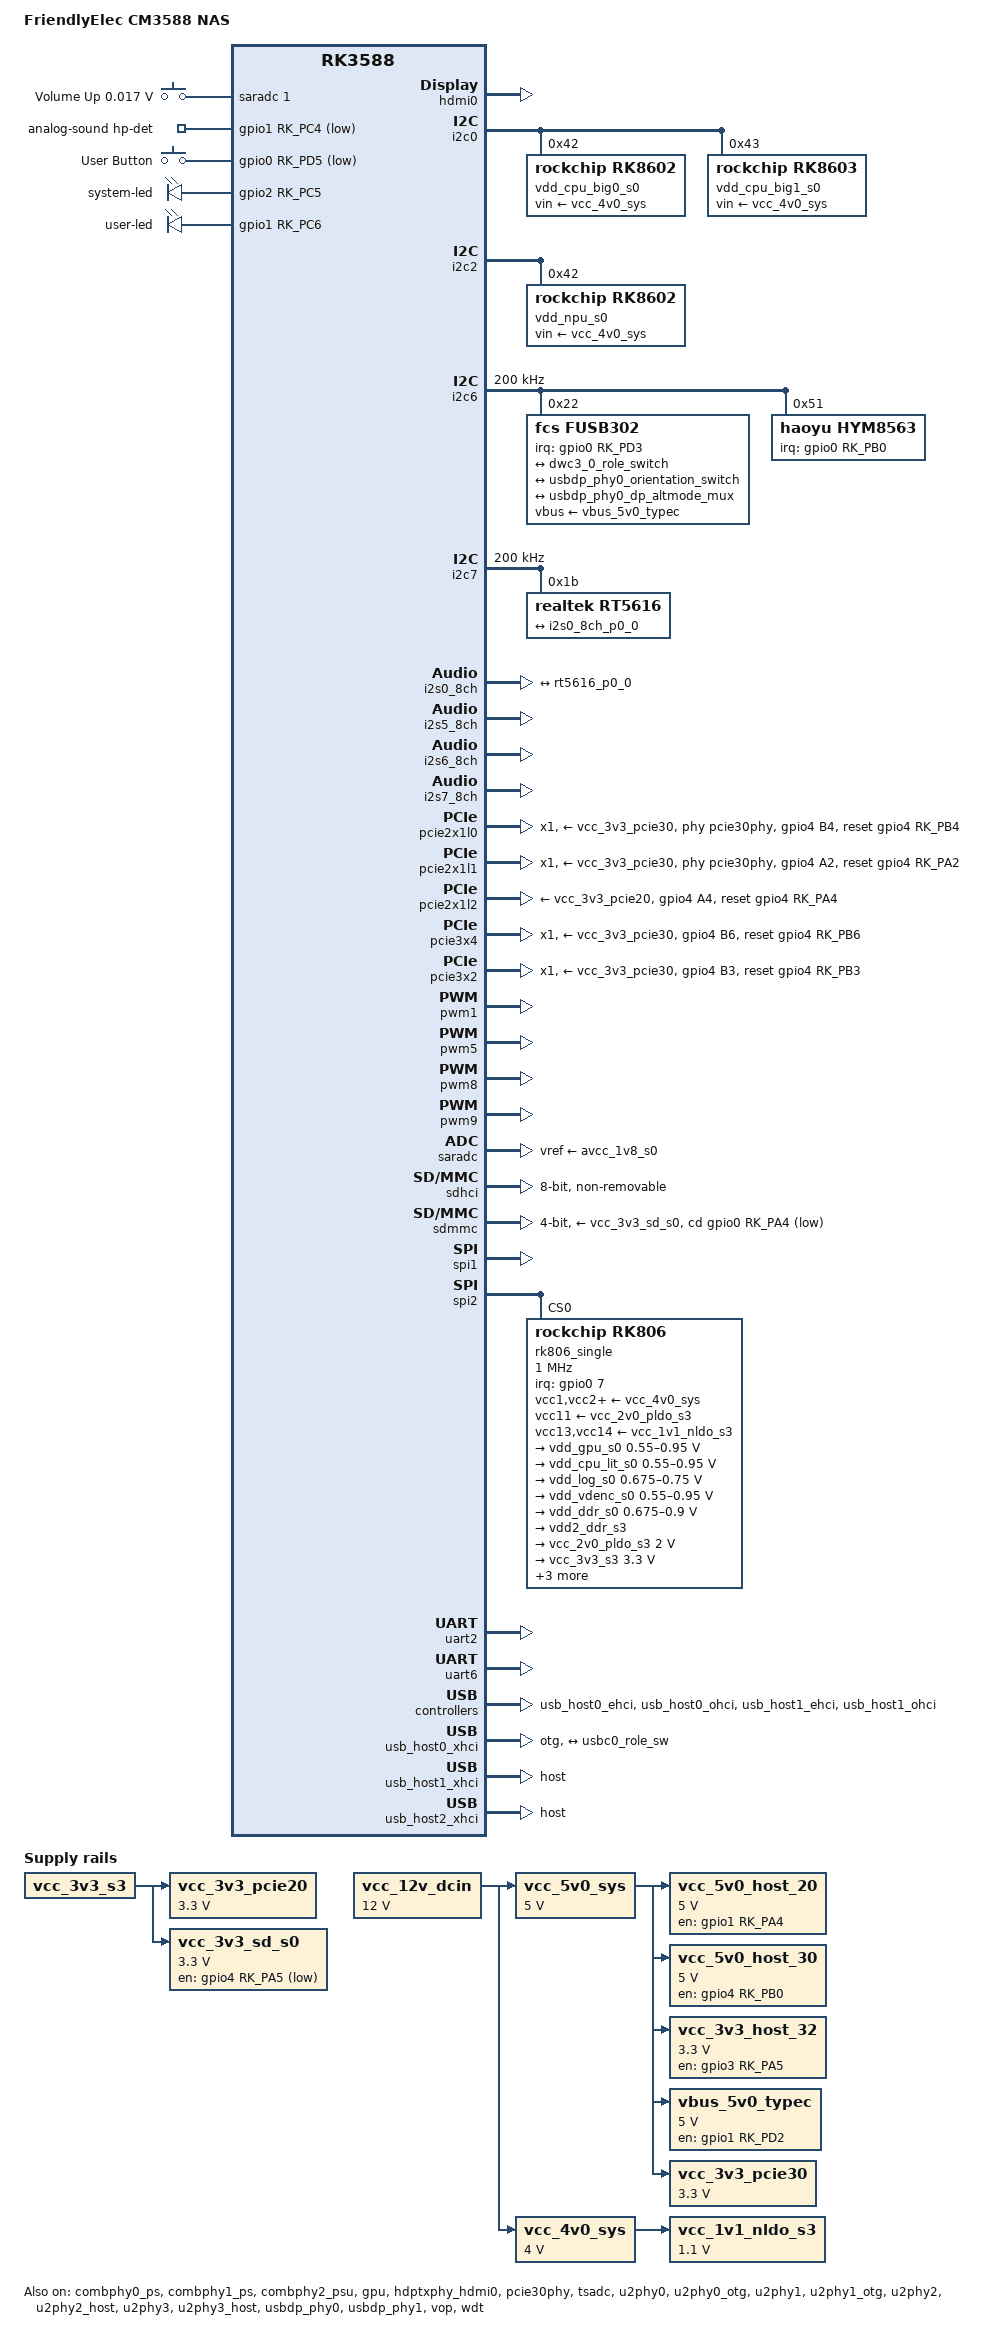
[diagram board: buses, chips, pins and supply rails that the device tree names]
// SPDX-License-Identifier: (GPL-2.0+ OR MIT)
/*
 * Copyright (c) 2021 Rockchip Electronics Co., Ltd.
 * Copyright (c) 2023 FriendlyElec Computer Tech. Co., Ltd.
 * Copyright (c) 2023 Thomas McKahan
 * Author: ColorfulRhino
 *
 */

/dts-v1/;

#include <dt-bindings/gpio/gpio.h>
#include <dt-bindings/input/input.h>
#include <dt-bindings/pinctrl/rockchip.h>
#include <dt-bindings/soc/rockchip,vop2.h>
#include <dt-bindings/usb/pd.h>
#include "rk3588.dtsi"

/ {
	model = "FriendlyElec CM3588 NAS";
	compatible = "friendlyarm,cm3588", "rockchip,rk3588";

	aliases {
		mmc0 = &sdhci;
		mmc1 = &sdmmc;
		// nvme0 = &nvme0;
		// nvme1 = &nvme1;
		// nvme2 = &nvme2;
		// nvme3 = &nvme3;
		// ethernet0 = &r8125_u10;
	};

	chosen {
		stdout-path = "serial2:1500000n8";
	};

	adc_keys: adc-keys {
		compatible = "adc-keys";
		io-channels = <&saradc 1>;
		io-channel-names = "buttons";
		keyup-threshold-microvolt = <1800000>;
		poll-interval = <100>;

		button-vol-up {
			label = "Volume Up";
			linux,code = <KEY_VOLUMEUP>;
			press-threshold-microvolt = <17000>;
		};
	};

	analog-sound {
		compatible = "simple-audio-card";
		pinctrl-names = "default";
		pinctrl-0 = <&headphone_detect>;

		simple-audio-card,name = "realtek,rt5616-codec";
		simple-audio-card,format = "i2s";
		simple-audio-card,mclk-fs = <256>;

		simple-audio-card,hp-det-gpio = <&gpio1 RK_PC4 GPIO_ACTIVE_LOW>;
		simple-audio-card,hp-pin-name = "Headphones";

		simple-audio-card,routing =
			"Headphones", "HPOL",
			"Headphones", "HPOR",
			"MIC1", "Microphone Jack",
			"Microphone Jack", "micbias1";
		simple-audio-card,widgets =
			"Headphone", "Headphones",
			"Microphone", "Microphone Jack";
		

		simple-audio-card,cpu {
			sound-dai = <&i2s0_8ch>;
		};
		
		simple-audio-card,codec {
			sound-dai = <&rt5616>;
		};
	};

	fan: pwm-fan {
		status = "disabled";
		compatible = "pwm-fan";
		#cooling-cells = <2>;
		cooling-levels = <0 50 100 150 200 255>;
		pwms = <&pwm1 0 50000 0>;
	};

	gpio_keys: gpio-keys {
		compatible = "gpio-keys";
		pinctrl-names = "default";
		pinctrl-0 = <&key1_pin>;

		button@1 {
			debounce-interval = <50>;
			gpios = <&gpio0 RK_PD5 GPIO_ACTIVE_LOW>;
			label = "User Button";
			linux,code = <BTN_1>;
			wakeup-source;
		};
	};

	leds {
		compatible = "gpio-leds";

		led_sys: led-0 {
			gpios = <&gpio2 RK_PC5 GPIO_ACTIVE_HIGH>;
			label = "system-led";
			linux,default-trigger = "heartbeat";
			pinctrl-names = "default";
			pinctrl-0 = <&led_sys_pin>;
		};

		led_usr: led-1 {
			gpios = <&gpio1 RK_PC6 GPIO_ACTIVE_HIGH>;
			label = "user-led";
			pinctrl-names = "default";
			pinctrl-0 = <&led_usr_pin>;
		};
	};

	vcc_12v_dcin: vcc-12v-dcin-regulator {
		compatible = "regulator-fixed";
		regulator-name = "vcc_12v_dcin";
		regulator-always-on;
		regulator-boot-on;
		regulator-min-microvolt = <12000000>;
		regulator-max-microvolt = <12000000>;
	};

	/* vcc_5v0_sys powers peripherals */
	vcc_5v0_sys: vcc-5v0-sys-regulator {
		compatible = "regulator-fixed";
		regulator-name = "vcc_5v0_sys";
		regulator-always-on;
		regulator-boot-on;
		regulator-min-microvolt = <5000000>;
		regulator-max-microvolt = <5000000>;
		vin-supply = <&vcc_12v_dcin>;
	};

	vcc_5v0_host_20: vcc-5v0-host-20 {
		compatible = "regulator-fixed";
		enable-active-high;
		gpio = <&gpio1 RK_PA4 GPIO_ACTIVE_HIGH>;
		pinctrl-names = "default";
		pinctrl-0 = <&vcc_5v0_host20_en>;
		regulator-name = "vcc_5v0_host_20";
		regulator-min-microvolt = <5000000>;
		regulator-max-microvolt = <5000000>;
		vin-supply = <&vcc_5v0_sys>;
	};

	vcc_5v0_host_30: vcc-5v0-host-30 {
		compatible = "regulator-fixed";
		enable-active-high;
		gpio = <&gpio4 RK_PB0 GPIO_ACTIVE_HIGH>;
		pinctrl-names = "default";
		pinctrl-0 = <&vcc_5v0_host30_en>;
		regulator-name = "vcc_5v0_host_30";
		regulator-min-microvolt = <5000000>;
		regulator-max-microvolt = <5000000>;
		vin-supply = <&vcc_5v0_sys>;
	};

	vcc_3v3_host_32: vcc-3v3-host-32-regulator {
		compatible = "regulator-fixed";
		enable-active-high;
		gpios = <&gpio3 RK_PA5 GPIO_ACTIVE_HIGH>;
		pinctrl-names = "default";
		pinctrl-0 = <&vcc_3v3_host32_en>;
		regulator-name = "vcc_3v3_host_32";
		regulator-min-microvolt = <3300000>;
		regulator-max-microvolt = <3300000>;
		vin-supply = <&vcc_5v0_sys>;
	};

	vbus_5v0_typec: vbus-5v0-typec-regulator {
		compatible = "regulator-fixed";
		enable-active-high;
		gpio = <&gpio1 RK_PD2 GPIO_ACTIVE_HIGH>;
		pinctrl-names = "default";
		pinctrl-0 = <&typec_5v_pwr_en>;
		regulator-name = "vbus_5v0_typec";
		regulator-min-microvolt = <5000000>;
		regulator-max-microvolt = <5000000>;
		vin-supply = <&vcc_5v0_sys>;
	};

	/* vcc_4v0_sys powers the RK806, RK860's */
	vcc_4v0_sys: vcc-4v0-sys-regulator {
		compatible = "regulator-fixed";
		regulator-name = "vcc_4v0_sys";
		regulator-always-on;
		regulator-boot-on;
		regulator-min-microvolt = <4000000>;
		regulator-max-microvolt = <4000000>;
		vin-supply = <&vcc_12v_dcin>;
	};

	vcc_3v3_pcie20: vcc-3v3-pcie20-regulator {
		compatible = "regulator-fixed";
		regulator-name = "vcc_3v3_pcie20";
		regulator-always-on;
		regulator-boot-on;
		regulator-min-microvolt = <3300000>;
		regulator-max-microvolt = <3300000>;
		vin-supply = <&vcc_3v3_s3>;
	};

	vcc_3v3_pcie30: vcc-3v3-pcie30-regulator {
		compatible = "regulator-fixed";
		regulator-name = "vcc_3v3_pcie30";
		regulator-always-on;
		regulator-boot-on;
		regulator-min-microvolt = <3300000>;
		regulator-max-microvolt = <3300000>;
		vin-supply = <&vcc_5v0_sys>;
	};

	vcc_3v3_sd_s0: vcc-3v3-sd-s0-regulator {
		compatible = "regulator-fixed";
		enable-active-low;
		gpio = <&gpio4 RK_PA5 GPIO_ACTIVE_HIGH>;
		pinctrl-names = "default";
		pinctrl-0 = <&sd_s0_pwr>;
		regulator-boot-on;
		regulator-max-microvolt = <3300000>;
		regulator-min-microvolt = <3300000>;
		regulator-name = "vcc_3v3_sd_s0";
		vin-supply = <&vcc_3v3_s3>;
	};

	vcc_1v1_nldo_s3: vcc-1v1-nldo-s3-regulator {
		compatible = "regulator-fixed";
		regulator-name = "vcc-1v1-nldo-s3";
		regulator-always-on;
		regulator-boot-on;
		regulator-min-microvolt = <1100000>;
		regulator-max-microvolt = <1100000>;
		vin-supply = <&vcc_4v0_sys>;
	};
};

&combphy0_ps {
	status = "okay";
};

&combphy1_ps {
	status = "okay";
};

&combphy2_psu {
	status = "okay";
};

&cpu_l0 {
	cpu-supply = <&vdd_cpu_lit_s0>;
};

&cpu_l1 {
	cpu-supply = <&vdd_cpu_lit_s0>;
};

&cpu_l2 {
	cpu-supply = <&vdd_cpu_lit_s0>;
};

&cpu_l3 {
	cpu-supply = <&vdd_cpu_lit_s0>;
};

&cpu_b0 {
	cpu-supply = <&vdd_cpu_big0_s0>;
};

&cpu_b1 {
	cpu-supply = <&vdd_cpu_big0_s0>;
};

&cpu_b2 {
	cpu-supply = <&vdd_cpu_big1_s0>;
};

&cpu_b3 {
	cpu-supply = <&vdd_cpu_big1_s0>;
};

/* @TODO: gpio0 to gpio4 is from rk3588-nanopc-t6.dts and is not yet adapted to CM3588 NAS */
// &gpio0 {
// 	gpio-line-names = /* GPIO0 A0-A7 */
// 			  "", "", "", "",
// 			  "", "", "", "",
// 			  /* GPIO0 B0-B7 */
// 			  "", "", "", "",
// 			  "", "", "", "",
// 			  /* GPIO0 C0-C7 */
// 			  "", "", "", "",
// 			  "HEADER_10", "HEADER_08", "HEADER_32", "",
// 			  /* GPIO0 D0-D7 */
// 			  "", "", "", "",
// 			  "", "", "", "";
// };

// &gpio1 {
// 	gpio-line-names = /* GPIO1 A0-A7 */
// 			  "HEADER_27", "HEADER_28", "", "",
// 			  "", "", "", "HEADER_15",
// 			  /* GPIO1 B0-B7 */
// 			  "HEADER_26", "HEADER_21", "HEADER_19", "HEADER_23",
// 			  "HEADER_24", "HEADER_22", "", "",
// 			  /* GPIO1 C0-C7 */
// 			  "", "", "", "",
// 			  "", "", "", "",
// 			  /* GPIO1 D0-D7 */
// 			  "", "", "", "",
// 			  "", "", "HEADER_05", "HEADER_03";
// };

// &gpio2 {
// 	gpio-line-names = /* GPIO2 A0-A7 */
// 			  "", "", "", "",
// 			  "", "", "", "",
// 			  /* GPIO2 B0-B7 */
// 			  "", "", "", "",
// 			  "", "", "", "",
// 			  /* GPIO2 C0-C7 */
// 			  "", "CSI1_11", "CSI1_12", "",
// 			  "", "", "", "",
// 			  /* GPIO2 D0-D7 */
// 			  "", "", "", "",
// 			  "", "", "", "";
// };

// &gpio3 {
// 	gpio-line-names = /* GPIO3 A0-A7 */
// 			  "HEADER_35", "HEADER_38", "HEADER_40", "HEADER_36",
// 			  "HEADER_37", "", "DSI0_12", "",
// 			  /* GPIO3 B0-B7 */
// 			  "HEADER_33", "DSI0_10", "HEADER_07", "HEADER_16",
// 			  "HEADER_18", "HEADER_29", "HEADER_31", "HEADER_12",
// 			  /* GPIO3 C0-C7 */
// 			  "DSI0_08", "DSI0_14", "HEADER_11", "HEADER_13",
// 			  "", "", "", "",
// 			  /* GPIO3 D0-D7 */
// 			  "", "", "", "",
// 			  "", "DSI1_10", "", "";
// };

// &gpio4 {
// 	gpio-line-names = /* GPIO4 A0-A7 */
// 			  "DSI1_08", "DSI1_14", "", "DSI1_12",
// 			  "", "", "", "",
// 			  /* GPIO4 B0-B7 */
// 			  "", "", "", "",
// 			  "", "", "", "",
// 			  /* GPIO4 C0-C7 */
// 			  "", "", "", "",
// 			  "CSI0_11", "CSI0_12", "", "",
// 			  /* GPIO4 D0-D7 */
// 			  "", "", "", "",
// 			  "", "", "", "";
// };

&gpu {
	mali-supply = <&vdd_gpu_s0>;
	sram-supply = <&vdd_gpu_mem_s0>;
	status = "okay";
};

&display_subsystem {
	clocks = <&hdptxphy_hdmi0>;
	clock-names = "hdmi0_phy_pll";
};

&hdmi0 {
	// avdd-0v9-supply = 
	// avdd-1v8-supply =
	/* Dmesg error/warning:
	* [  +0.000055] dwhdmi-rockchip fde80000.hdmi: Looking up avdd-0v9-supply from device tree
	* [  +0.000011] dwhdmi-rockchip fde80000.hdmi: Looking up avdd-0v9-supply property in node /hdmi@fde80000 failed
	* [  +0.000014] dwhdmi-rockchip fde80000.hdmi: supply avdd-0v9 not found, using dummy regulator
	* [  +0.000080] dwhdmi-rockchip fde80000.hdmi: Looking up avdd-1v8-supply from device tree
	* [  +0.000010] dwhdmi-rockchip fde80000.hdmi: Looking up avdd-1v8-supply property in node /hdmi@fde80000 failed
	* [  +0.000010] dwhdmi-rockchip fde80000.hdmi: supply avdd-1v8 not found, using dummy regulator
	* [  +0.001009] dwhdmi-rockchip fde80000.hdmi: registered ddc I2C bus driver
	*/
	status = "okay";
};

&hdmi0_in {
	hdmi0_in_vp0: endpoint {
		remote-endpoint = <&vp0_out_hdmi0>;
	};
};

&hdptxphy_hdmi0 {
	status = "okay";
};

// /* 4k HDMI capture controller (see rk3588.dtsi) */
// &hdmirx_cma {
// 	status = "okay";
// };

// &hdmirx_ctrler {
// 	status = "okay";
// 	hdmirx-5v-detection-gpios = <&gpio1 RK_PC6 GPIO_ACTIVE_LOW>;
// 	pinctrl-0 = <&hdmim1_rx_cec &hdmim1_rx_hpdin &hdmim1_rx_scl &hdmim1_rx_sda &hdmirx_5v_detection>;
// 	pinctrl-names = "default";
// 	memory-region = <&hdmirx_cma>;
// };

&i2c0 {
	pinctrl-names = "default";
	pinctrl-0 = <&i2c0m2_xfer>;
	status = "okay";

	vdd_cpu_big0_s0: regulator@42 {
		compatible = "rockchip,rk8602";
		reg = <0x42>;
		fcs,suspend-voltage-selector = <1>;
		regulator-name = "vdd_cpu_big0_s0";
		regulator-always-on;
		regulator-boot-on;
		regulator-min-microvolt = <550000>;
		regulator-max-microvolt = <1050000>;
		regulator-ramp-delay = <2300>;
		vin-supply = <&vcc_4v0_sys>;

		regulator-state-mem {
			regulator-off-in-suspend;
		};
	};

	vdd_cpu_big1_s0: regulator@43 {
		compatible = "rockchip,rk8603", "rockchip,rk8602";
		reg = <0x43>;
		fcs,suspend-voltage-selector = <1>;
		regulator-name = "vdd_cpu_big1_s0";
		regulator-always-on;
		regulator-boot-on;
		regulator-min-microvolt = <550000>;
		regulator-max-microvolt = <1050000>;
		regulator-ramp-delay = <2300>;
		vin-supply = <&vcc_4v0_sys>;

		regulator-state-mem {
			regulator-off-in-suspend;
		};
	};
};

&i2c2 {
	status = "okay";

	vdd_npu_s0: regulator@42 {
		compatible = "rockchip,rk8602";
		reg = <0x42>;
		fcs,suspend-voltage-selector = <1>;
		regulator-name = "vdd_npu_s0";
		regulator-always-on;
		regulator-boot-on;
		regulator-min-microvolt = <550000>;
		regulator-max-microvolt = <950000>;
		regulator-ramp-delay = <2300>;
		vin-supply = <&vcc_4v0_sys>;

		regulator-state-mem {
			regulator-off-in-suspend;
		};
	};
};

&i2c6 {
	clock-frequency = <200000>;
	pinctrl-names = "default";
	pinctrl-0 = <&i2c6m0_xfer>;
	status = "okay";

	fusb302: typec-portc@22 {
		compatible = "fcs,fusb302";
		reg = <0x22>;
		interrupt-parent = <&gpio0>;
		interrupts = <RK_PD3 IRQ_TYPE_LEVEL_LOW>;
		pinctrl-0 = <&usbc0_int>;
		pinctrl-names = "default";
		vbus-supply = <&vbus_5v0_typec>;

		ports {
			#address-cells = <1>;
			#size-cells = <0>;

				port@0 {
				reg = <0>;
				usbc0_role_sw: endpoint@0 {
					remote-endpoint = <&dwc3_0_role_switch>;
				};
			};
		};

		usb_con: connector {
			compatible = "usb-c-connector";
			data-role = "dual";
			label = "USB-C";
			op-sink-microwatt = <1000000>;
			power-role = "dual";
			source-pdos = <PDO_FIXED(5000, 2000, PDO_FIXED_USB_COMM)>;
			sink-pdos = <PDO_FIXED(5000, 3000, PDO_FIXED_USB_COMM)>;
			try-power-role = "sink";

			altmodes {
				#address-cells = <1>;
				#size-cells = <0>;

				altmode@0 {
					reg = <0>;
					svid = <0xff01>;
					vdo = <0xffffffff>;
				};
			};

			ports {
				#address-cells = <1>;
				#size-cells = <0>;

				port@0 {
					reg = <0>;
					usbc0_orien_sw: endpoint {
						remote-endpoint = <&usbdp_phy0_orientation_switch>;
					};
				};

				port@1 {
					reg = <1>;
					dp_altmode_mux: endpoint {
						remote-endpoint = <&usbdp_phy0_dp_altmode_mux>;
					};
				};
			};
		};
	};

	hym8563: rtc@51 {
		compatible = "haoyu,hym8563";
		reg = <0x51>;
		#clock-cells = <0>;
		clock-output-names = "hym8563";
		interrupt-parent = <&gpio0>;
		interrupts = <RK_PB0 IRQ_TYPE_LEVEL_LOW>;
		pinctrl-names = "default";
		pinctrl-0 = <&hym8563_int>;
		wakeup-source;
	};
};

/* Connected with MIPI-CSI1 */
&i2c7 {
	clock-frequency = <200000>;
	status = "okay";

	rt5616: audio-codec@1b {
		compatible = "realtek,rt5616";
		reg = <0x1b>;
		assigned-clocks = <&cru I2S0_8CH_MCLKOUT>;
		assigned-clock-rates = <12288000>;
		clocks = <&cru I2S0_8CH_MCLKOUT>;
		clock-names = "mclk";
		#sound-dai-cells = <0>;

		port {
			rt5616_p0_0: endpoint {
				remote-endpoint = <&i2s0_8ch_p0_0>;
			};
		};
	};
};

/* Connected with Header_2.54MM */
&i2c8 {
	pinctrl-0 = <&i2c8m2_xfer>;
};

&i2s0_8ch {
	pinctrl-names = "default";
	pinctrl-0 = <&i2s0_lrck
				&i2s0_mclk
				&i2s0_sclk
				&i2s0_sdi0
				&i2s0_sdo0>;
	status = "okay";

	i2s0_8ch_p0: port {
		i2s0_8ch_p0_0: endpoint {
			dai-format = "i2s";
			mclk-fs = <256>;
			remote-endpoint = <&rt5616_p0_0>;
		};
	};
};

&i2s5_8ch {
	status = "okay";
};

&i2s6_8ch {
	status = "okay";
};

&i2s7_8ch {
	status = "okay";
};

/* Temperature sensor near the center of the SoC */
&package_thermal {
	polling-delay = <1000>;

	trips {
		package_hot: package_hot {
			hysteresis = <2000>;
			temperature = <65000>;
			type = "active";
		};
	};

	cooling-maps {
		map0 {
			cooling-device = <&fan THERMAL_NO_LIMIT THERMAL_NO_LIMIT>;
			trip = <&package_hot>;
		};
	};
};

&pcie2x1l0 { // @fe170000
	/* 2. M.2 slot, CON14: pcie30phy port0 lane1 */
	max-link-speed = <3>;
	num-lanes = <1>;
	phys = <&pcie30phy>;
	pinctrl-names = "default";
	pinctrl-0 = <&pcie2_0_rst>;
	reset-gpios = <&gpio4 RK_PB4 GPIO_ACTIVE_HIGH>;
	vpcie3v3-supply = <&vcc_3v3_pcie30>;
	status = "okay";

	// pcie@0,0 {
	// 	reg = <0x00200000 0 0 0 0>;
	// 	#address-cells = <3>;
	// 	#size-cells = <2>;

	// 	nvme1: pcie@20,0 {
	// 		reg = <0x000000 0 0 0 0>;
	// 	};
	// };
};

&pcie2x1l1 { // @fe180000
	/* 4. M.2 slot, CON16: pcie30phy port1 lane1 */
	max-link-speed = <3>;
	num-lanes = <1>;
	phys = <&pcie30phy>;
	pinctrl-names = "default";
	pinctrl-0 = <&pcie2_1_rst>;
	reset-gpios = <&gpio4 RK_PA2 GPIO_ACTIVE_HIGH>;
	vpcie3v3-supply = <&vcc_3v3_pcie30>;
	status = "okay";

	// pcie@0,0 {
	// 	reg = <0x00300000 0 0 0 0>;
	// 	#address-cells = <3>;
	// 	#size-cells = <2>;

	// 	nvme3: pcie@30,0 {
	// 		reg = <0x000000 0 0 0 0>;
	// 	};
	// };
};

&pcie2x1l2 { // @fe190000
	/* r8125 ethernet */
	pinctrl-names = "default";
	pinctrl-0 = <&pcie2_2_rst>;
	reset-gpios = <&gpio4 RK_PA4 GPIO_ACTIVE_HIGH>;
	vpcie3v3-supply = <&vcc_3v3_pcie20>;
	status = "okay";

	// pcie@0,0 {
	// 	reg = <0x00400000 0 0 0 0>;
	// 	#address-cells = <3>;
	// 	#size-cells = <2>;

	// 	r8125_u10: pcie@40,0 {
	// 		reg = <0x000000 0 0 0 0>;
	// 		local-mac-address = [ 00 00 00 00 00 00 ];
	// 	};
	// };
};

&pcie30phy {
	/*
	* Michal Tomek describes:
	* The PHY offers the following mapping options:
	* 
	* port 0 lane 0 - always mapped to controller 0 (4L)
 	* port 0 lane 1 - to controller 0 or 2 (1L0)
	* port 1 lane 0 - to controller 0 or 1 (2L)
	* port 1 lane 1 - to controller 0, 1 or 3 (1L1)
	* 
	* The data-lanes DT property maps these as follows:
	* 
	* 0 = no controller (unsupported by the HW)
 	* 1 = 4L
	* 2 = 2L
	* 3 = 1L0
 	* 4 = 1L1
	*
	* <1 3 2 4> = NABIBI = [3 3] = x1x1 x1x1 (bif. of both ports;
	*/
	data-lanes = <1 3 2 4>;
	status = "okay";
};

&pcie3x4 { // @fe150000
	/* 1. M.2 slot, CON13: pcie30phy port0 lane0 */
	max-link-speed = <3>;
	num-lanes = <1>;
	pinctrl-names = "default";
	pinctrl-0 = <&pcie3x4_rst>;
	reset-gpios = <&gpio4 RK_PB6 GPIO_ACTIVE_HIGH>;
	vpcie3v3-supply = <&vcc_3v3_pcie30>;
	status = "okay";

	// pcie@0,0 {
	// 	reg = <0x00000000 0 0 0 0>;
	// 	#address-cells = <3>;
	// 	#size-cells = <2>;

	// 	nvme0: pcie@0,0 {
	// 		reg = <0x000000 0 0 0 0>;
	// 	};
	// };
};

&pcie3x2 { // @fe160000
	/* 3. M.2 slot, CON15: pcie30phy port1 lane0 */
	max-link-speed = <3>;
	num-lanes = <1>;
	pinctrl-names = "default";
	pinctrl-0 = <&pcie3x2_rst>;
	reset-gpios = <&gpio4 RK_PB3 GPIO_ACTIVE_HIGH>;
	vpcie3v3-supply = <&vcc_3v3_pcie30>;
	status = "okay";

	// pcie@0,0 {
	// 	reg = <0x00100000 0 0 0 0>;
	// 	#address-cells = <3>;
	// 	#size-cells = <2>;

	// 	nvme2: pcie@10,0 {
	// 		reg = <0x000000 0 0 0 0>;
	// 	};
	// };
};

&pinctrl {
	audio {
		headphone_detect: headphone-detect {
			rockchip,pins = <1 RK_PC4 RK_FUNC_GPIO &pcfg_pull_none>;
		};
	};

	gpio-key {
		key1_pin: key1-pin {
			rockchip,pins = <0 RK_PD5 RK_FUNC_GPIO &pcfg_pull_up>;
		};
	};

	gpio-leds {
		led_sys_pin: led-sys-pin {
			rockchip,pins = <2 RK_PC5 RK_FUNC_GPIO &pcfg_pull_none>;
		};

		led_usr_pin: led-usr-pin {
			rockchip,pins = <1 RK_PC6 RK_FUNC_GPIO &pcfg_pull_none>;
		};
	};

	hym8563 {
		hym8563_int: hym8563-int {
			rockchip,pins = <0 RK_PB0 RK_FUNC_GPIO &pcfg_pull_up>;
		};
	};

	pcie {
		pcie2_0_rst: pcie2-0-rst {
			rockchip,pins = <4 RK_PB4 RK_FUNC_GPIO &pcfg_pull_none>;
		};

		pcie2_1_rst: pcie2-1-rst {
			rockchip,pins = <4 RK_PA2 RK_FUNC_GPIO &pcfg_pull_none>;
		};

		pcie2_2_rst: pcie2-2-rst {
			rockchip,pins = <4 RK_PA4 RK_FUNC_GPIO &pcfg_pull_none>;
		};

		pcie3x2_rst: pcie3x2-rst {
			rockchip,pins = <4 RK_PB3 RK_FUNC_GPIO &pcfg_pull_none>;
		};

		pcie3x4_rst: pcie3x4-rst {
			rockchip,pins = <4 RK_PB6 RK_FUNC_GPIO &pcfg_pull_none>;
		};
	};

	sdmmc {
		sd_s0_pwr: sd-s0-pwr {
			rockchip,pins = <4 RK_PA5 RK_FUNC_GPIO &pcfg_pull_up>;
		};
	};

	usb {
		vcc_5v0_host20_en: vcc-5v0-host20-en {
			rockchip,pins = <1 RK_PA4 RK_FUNC_GPIO &pcfg_pull_none>;
		};

		vcc_5v0_host30_en: vcc-5v0-host30-en {
			rockchip,pins = <4 RK_PB0 RK_FUNC_GPIO &pcfg_pull_none>;
		};
		
		vcc_3v3_host32_en: vcc-3v3-host32-en {
			rockchip,pins = <3 RK_PA5 RK_FUNC_GPIO &pcfg_pull_none>;
		};
	};

	usb-typec {
		usbc0_int: usbc0-int {
			rockchip,pins = <0 RK_PD3 RK_FUNC_GPIO &pcfg_pull_up>;
		};

		typec_5v_pwr_en: typec-5v-pwr-en {
			rockchip,pins = <1 RK_PD2 RK_FUNC_GPIO &pcfg_pull_none>;
		};
	};
};

&pwm1 {
	pinctrl-0 = <&pwm1m1_pins>;
	status = "okay";
};

/* Connected with MIPI-DSI0 */
&pwm2 {
	pinctrl-0 = <&pwm2m1_pins>;
};

/* GPIO Connector */
&pwm5 {
	pinctrl-0 = <&pwm5m1_pins>;
	status = "okay";
};

&pwm8 {
	pinctrl-0 = <&pwm8m0_pins>;
	status = "okay";
};

/* GPIO Connector */
&pwm9 {
	pinctrl-0 = <&pwm9m0_pins>;
	status = "okay";
};

&saradc {
	vref-supply = <&avcc_1v8_s0>;
	status = "okay";
};

/* eMMC */
&sdhci {
	bus-width = <8>;
	full-pwr-cycle-in-suspend;
	max-frequency = <200000000>;
	mmc-hs400-1_8v;
	mmc-hs400-enhanced-strobe;
	no-sd;
	no-sdio;
	non-removable;
	status = "okay";
};

/* microSD card */
&sdmmc {
	bus-width = <4>;
	cap-mmc-highspeed;
	cap-sd-highspeed;
	cd-gpios = <&gpio0 RK_PA4 GPIO_ACTIVE_LOW>;
	disable-wp;
	max-frequency = <150000000>;
	no-mmc;
	no-sdio;
	sd-uhs-sdr104;
	vmmc-supply = <&vcc_3v3_sd_s0>;
	vqmmc-supply = <&vccio_sd_s0>;
	status = "okay";
};

/* GPIO Connector */
&spi1 {
	status = "okay";
};

&spi2 {
	status = "okay";
	assigned-clocks = <&cru CLK_SPI2>;
	assigned-clock-rates = <200000000>;
	pinctrl-names = "default";
	pinctrl-0 = <&spi2m2_cs0 &spi2m2_pins>;
	num-cs = <1>;

	rk806_single: pmic@0 {
		compatible = "rockchip,rk806";
		reg = <0x0>;

		interrupt-parent = <&gpio0>;
		interrupts = <7 IRQ_TYPE_LEVEL_LOW>;

		pinctrl-names = "default";
		pinctrl-0 = <&pmic_pins>, <&rk806_dvs1_null>,
			    <&rk806_dvs2_null>, <&rk806_dvs3_null>;
		
		spi-max-frequency = <1000000>;

		system-power-controller;

		vcc1-supply = <&vcc_4v0_sys>;
		vcc2-supply = <&vcc_4v0_sys>;
		vcc3-supply = <&vcc_4v0_sys>;
		vcc4-supply = <&vcc_4v0_sys>;
		vcc5-supply = <&vcc_4v0_sys>;
		vcc6-supply = <&vcc_4v0_sys>;
		vcc7-supply = <&vcc_4v0_sys>;
		vcc8-supply = <&vcc_4v0_sys>;
		vcc9-supply = <&vcc_4v0_sys>;
		vcc10-supply = <&vcc_4v0_sys>;
		vcc11-supply = <&vcc_2v0_pldo_s3>;
		vcc12-supply = <&vcc_4v0_sys>;
		vcc13-supply = <&vcc_1v1_nldo_s3>;
		vcc14-supply = <&vcc_1v1_nldo_s3>;
		vcca-supply = <&vcc_4v0_sys>;

		gpio-controller;
		#gpio-cells = <2>;

		rk806_dvs1_null: dvs1-null-pins {
			pins = "gpio_pwrctrl1";
			function = "pin_fun0";
		};

		rk806_dvs2_null: dvs2-null-pins {
			pins = "gpio_pwrctrl2";
			function = "pin_fun0";
		};

		rk806_dvs3_null: dvs3-null-pins {
			pins = "gpio_pwrctrl3";
			function = "pin_fun0";
		};

		regulators {
			vdd_gpu_s0: vdd_gpu_mem_s0: dcdc-reg1 {
				regulator-boot-on;
				regulator-min-microvolt = <550000>;
				regulator-max-microvolt = <950000>;
				regulator-ramp-delay = <12500>;
				regulator-name = "vdd_gpu_s0";
				regulator-enable-ramp-delay = <400>;

				regulator-state-mem {
					regulator-off-in-suspend;
				};
			};

			vdd_cpu_lit_s0: vdd_cpu_lit_mem_s0: dcdc-reg2 {
				regulator-always-on;
				regulator-boot-on;
				regulator-min-microvolt = <550000>;
				regulator-max-microvolt = <950000>;
				regulator-ramp-delay = <12500>;
				regulator-name = "vdd_cpu_lit_s0";

				regulator-state-mem {
					regulator-off-in-suspend;
				};
			};

			vdd_log_s0: dcdc-reg3 {
				regulator-always-on;
				regulator-boot-on;
				regulator-min-microvolt = <675000>;
				regulator-max-microvolt = <750000>;
				regulator-ramp-delay = <12500>;
				regulator-name = "vdd_log_s0";

				regulator-state-mem {
					regulator-off-in-suspend;
					regulator-suspend-microvolt = <750000>;
				};
			};

			vdd_vdenc_s0: vdd_vdenc_mem_s0: dcdc-reg4 {
				regulator-always-on;
				regulator-boot-on;
				regulator-min-microvolt = <550000>;
				regulator-max-microvolt = <950000>;
				regulator-ramp-delay = <12500>;
				regulator-name = "vdd_vdenc_s0";

				regulator-state-mem {
					regulator-off-in-suspend;
				};
			};

			vdd_ddr_s0: dcdc-reg5 {
				regulator-always-on;
				regulator-boot-on;
				regulator-min-microvolt = <675000>;
				regulator-max-microvolt = <900000>;
				regulator-ramp-delay = <12500>;
				regulator-name = "vdd_ddr_s0";

				regulator-state-mem {
					regulator-off-in-suspend;
					regulator-suspend-microvolt = <850000>;
				};
			};

			vdd2_ddr_s3: dcdc-reg6 {
				regulator-always-on;
				regulator-boot-on;
				regulator-name = "vdd2_ddr_s3";

				regulator-state-mem {
					regulator-on-in-suspend;
				};
			};

			vcc_2v0_pldo_s3: dcdc-reg7 {
				regulator-always-on;
				regulator-boot-on;
				regulator-min-microvolt = <2000000>;
				regulator-max-microvolt = <2000000>;
				regulator-ramp-delay = <12500>;
				regulator-name = "vdd_2v0_pldo_s3";

				regulator-state-mem {
					regulator-on-in-suspend;
					regulator-suspend-microvolt = <2000000>;
				};
			};

			vcc_3v3_s3: dcdc-reg8 {
				regulator-always-on;
				regulator-boot-on;
				regulator-min-microvolt = <3300000>;
				regulator-max-microvolt = <3300000>;
				regulator-name = "vcc_3v3_s3";

				regulator-state-mem {
					regulator-on-in-suspend;
					regulator-suspend-microvolt = <3300000>;
				};
			};

			vddq_ddr_s0: dcdc-reg9 {
				regulator-always-on;
				regulator-boot-on;
				regulator-name = "vddq_ddr_s0";

				regulator-state-mem {
					regulator-off-in-suspend;
				};
			};

			vcc_1v8_s3: dcdc-reg10 {
				regulator-always-on;
				regulator-boot-on;
				regulator-min-microvolt = <1800000>;
				regulator-max-microvolt = <1800000>;
				regulator-name = "vcc_1v8_s3";

				regulator-state-mem {
					regulator-on-in-suspend;
					regulator-suspend-microvolt = <1800000>;
				};
			};

			avcc_1v8_s0: pldo-reg1 {
				regulator-always-on;
				regulator-boot-on;
				regulator-min-microvolt = <1800000>;
				regulator-max-microvolt = <1800000>;
				regulator-name = "avcc_1v8_s0";

				regulator-state-mem {
					regulator-off-in-suspend;
				};
			};

			vcc_1v8_s0: pldo-reg2 {
				regulator-always-on;
				regulator-boot-on;
				regulator-min-microvolt = <1800000>;
				regulator-max-microvolt = <1800000>;
				regulator-name = "vcc_1v8_s0";

				regulator-state-mem {
					regulator-off-in-suspend;
					regulator-suspend-microvolt = <1800000>;
				};
			};

			avdd_1v2_s0: pldo-reg3 {
				regulator-always-on;
				regulator-boot-on;
				regulator-min-microvolt = <1200000>;
				regulator-max-microvolt = <1200000>;
				regulator-name = "avdd_1v2_s0";

				regulator-state-mem {
					regulator-off-in-suspend;
				};
			};

			vcc_3v3_s0: pldo-reg4 {
				regulator-always-on;
				regulator-boot-on;
				regulator-min-microvolt = <3300000>;
				regulator-max-microvolt = <3300000>;
				regulator-ramp-delay = <12500>;
				regulator-name = "vcc_3v3_s0";

				regulator-state-mem {
					regulator-off-in-suspend;
				};
			};

			vccio_sd_s0: pldo-reg5 {
				regulator-always-on;
				regulator-boot-on;
				regulator-min-microvolt = <1800000>;
				regulator-max-microvolt = <3300000>;
				regulator-ramp-delay = <12500>;
				regulator-name = "vccio_sd_s0";

				regulator-state-mem {
					regulator-off-in-suspend;
				};
			};

			pldo6_s3: pldo-reg6 {
				regulator-always-on;
				regulator-boot-on;
				regulator-min-microvolt = <1800000>;
				regulator-max-microvolt = <1800000>;
				regulator-name = "pldo6_s3";

				regulator-state-mem {
					regulator-on-in-suspend;
					regulator-suspend-microvolt = <1800000>;
				};
			};

			vdd_0v75_s3: nldo-reg1 {
				regulator-always-on;
				regulator-boot-on;
				regulator-min-microvolt = <750000>;
				regulator-max-microvolt = <750000>;
				regulator-name = "vdd_0v75_s3";

				regulator-state-mem {
					regulator-on-in-suspend;
					regulator-suspend-microvolt = <750000>;
				};
			};

			vdd_ddr_pll_s0: nldo-reg2 {
				regulator-always-on;
				regulator-boot-on;
				regulator-min-microvolt = <850000>;
				regulator-max-microvolt = <850000>;
				regulator-name = "vdd_ddr_pll_s0";

				regulator-state-mem {
					regulator-off-in-suspend;
					regulator-suspend-microvolt = <850000>;
				};
			};

			avdd_0v75_s0: nldo-reg3 {
				regulator-always-on;
				regulator-boot-on;
				regulator-min-microvolt = <750000>;
				regulator-max-microvolt = <750000>;
				regulator-name = "avdd_0v75_s0";

				regulator-state-mem {
					regulator-off-in-suspend;
				};
			};

			vdd_0v85_s0: nldo-reg4 {
				regulator-always-on;
				regulator-boot-on;
				regulator-min-microvolt = <850000>;
				regulator-max-microvolt = <850000>;
				regulator-name = "vdd_0v85_s0";

				regulator-state-mem {
					regulator-off-in-suspend;
				};
			};

			vdd_0v75_s0: nldo-reg5 {
				regulator-always-on;
				regulator-boot-on;
				regulator-min-microvolt = <750000>;
				regulator-max-microvolt = <750000>;
				regulator-name = "vdd_0v75_s0";

				regulator-state-mem {
					regulator-off-in-suspend;
				};
			};
		};
	};
};

/* GPIO Connector */
&spi4 {
	num-cs = <1>;
	pinctrl-0 = <&spi4m1_cs0 &spi4m1_pins>;
	status = "disabled";
};

&tsadc {
	status = "okay";
};

/* GPIO Connector */
&uart0 {
	pinctrl-0 = <&uart0m0_xfer>;
	status = "disabled";
};

/* Debug UART */
&uart2 {
	pinctrl-0 = <&uart2m0_xfer>;
	status = "okay";
};

/* GPIO Connector */
&uart3 {
	pinctrl-0 = <&uart3m1_xfer>;
	status = "disabled";
};

/* GPIO Connector */
&uart4 {
	pinctrl-0 = <&uart4m2_xfer>;
	status = "disabled";
};

/* GPIO Connector */
&uart6 {
	pinctrl-0 = <&uart6m1_xfer>;
	status = "okay";
};

/* GPIO Connector */
&uart7 {
	pinctrl-0 = <&uart7m2_xfer>;
	status = "disabled";
};

/* GPIO Connector */
&uart8 {
	pinctrl-0 = <&uart8m1_xfer>;
	status = "disabled";
};

&u2phy0 {
	status = "okay";
};

&u2phy0_otg {
	rockchip,typec-vbus-det; /* @TODO Note: This flag is not (yet?) present in Linux 6.9 "Documentation/devicetree/bindings/phy/rockchip,inno-usb2phy.yaml" */
	status = "okay";
};

&u2phy1 {
	status = "okay";
};

&u2phy1_otg {
	phy-supply = <&vcc_5v0_host_30>;
	status = "okay";
};

&u2phy2 {
	status = "okay";
};

&u2phy2_host {
	phy-supply = <&vcc_5v0_host_20>;
	status = "okay";
};

&u2phy3 {
	status = "okay";
};

&u2phy3_host {
	phy-supply = <&vcc_3v3_host_32>;
	status = "okay";
};

&usb_host0_ehci {
	status = "okay";
};

&usb_host0_ohci {
	status = "okay";
};

&usb_host0_xhci {
	dr_mode = "otg";
	usb-role-switch;
	status = "okay";

	port {
		#address-cells = <1>;
		#size-cells = <0>;

		dwc3_0_role_switch: endpoint@0 {
			reg = <0>;
			remote-endpoint = <&usbc0_role_sw>;
		};
	};
};

&usb_host1_ehci {
	status = "okay";
};

&usb_host1_ohci {
	status = "okay";
};

/* Upper USB 3.0 port */
&usb_host1_xhci {
	dr_mode = "host";
	snps,xhci-trb-ent-quirk;
	status = "okay";
};

/* Lower USB 3.0 port */
&usb_host2_xhci {
	dr_mode = "host";
	status = "okay";
};

&usbdp_phy0 {
	orientation-switch;
	svid = <0xff01>;
	sbu1-dc-gpios = <&gpio4 RK_PA6 GPIO_ACTIVE_HIGH>;
	sbu2-dc-gpios = <&gpio4 RK_PA7 GPIO_ACTIVE_HIGH>;
	status = "okay";

	port {
		#address-cells = <1>;
		#size-cells = <0>;
		usbdp_phy0_orientation_switch: endpoint@0 {
			reg = <0>;
			remote-endpoint = <&usbc0_orien_sw>;
		};

		usbdp_phy0_dp_altmode_mux: endpoint@1 {
			reg = <1>;
			remote-endpoint = <&dp_altmode_mux>;
		};
	};
};

&usbdp_phy1 {
	status = "okay";
};

&vop {
	status = "okay";
};

&vop_mmu {
	status = "okay";
};

&vp0 {
	vp0_out_hdmi0: endpoint@ROCKCHIP_VOP2_EP_HDMI0 {
		reg = <ROCKCHIP_VOP2_EP_HDMI0>;
		remote-endpoint = <&hdmi0_in_vp0>;
	};
};

&wdt {
	status = "okay";
};
